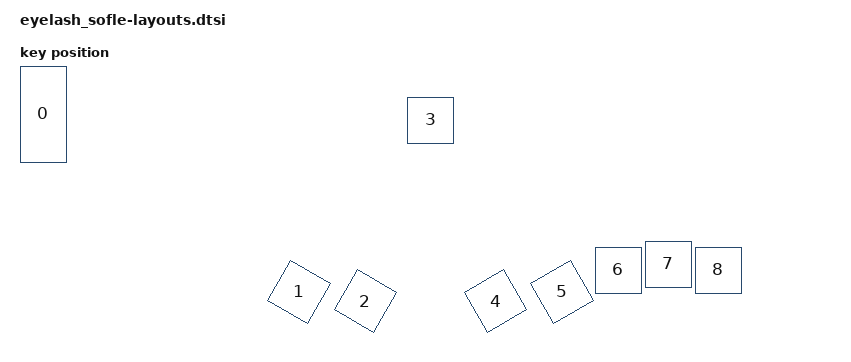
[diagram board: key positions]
#include <physical_layouts.dtsi>

/ {
    eyelash_sofle_layout: eyelash_sofle_layout {
        compatible = "zmk,physical-layout";
        display-name = "Layout";
        transform = <&default_transform>;
        keys  //                     w   h    x    y     rot    rx    ry
            = <&key_physical_attrs 100 200    0   50       0     0     0>


            , <&key_physical_attrs 100 100  550  412    3000   500   412>
            , <&key_physical_attrs 100 100  675  362    3000   500   412>
            , <&key_physical_attrs 100 100  775  112       0     0     0>
            , <&key_physical_attrs 100 100  875  362 (-3000)  1150   412>
            , <&key_physical_attrs 100 100 1000  412 (-3000)  1150   412>
            , <&key_physical_attrs 100 100 1150  412       0     0     0>
            , <&key_physical_attrs 100 100 1250  400       0     0     0>
            , <&key_physical_attrs 100 100 1350  412       0     0     0>

            ;
    };
};
